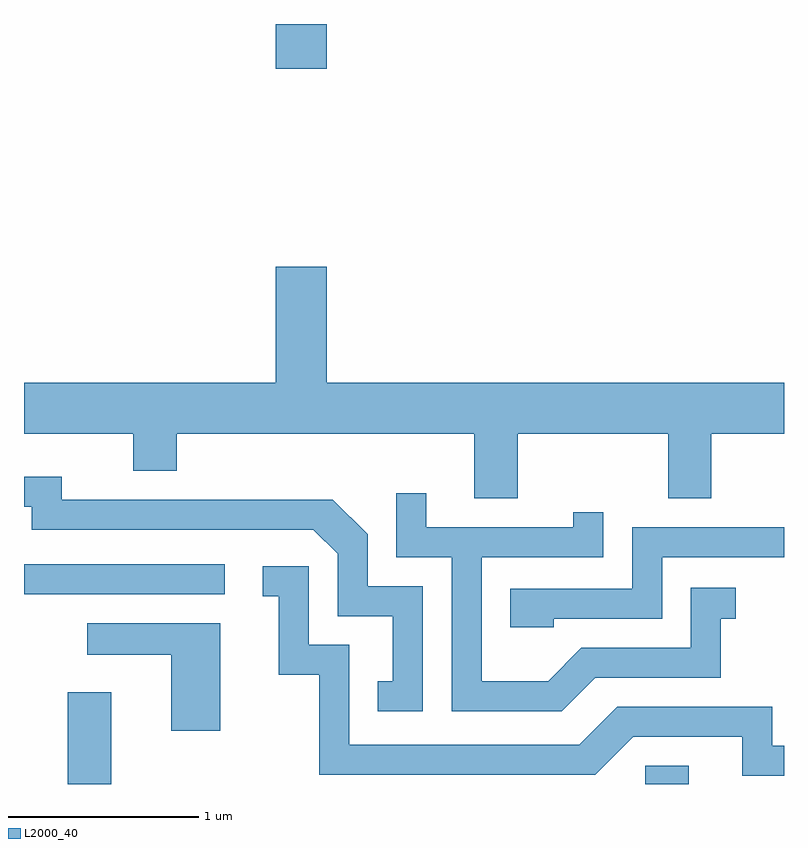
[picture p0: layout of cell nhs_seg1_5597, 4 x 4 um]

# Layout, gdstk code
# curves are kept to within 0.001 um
import gdstk
lib = gdstk.Library(unit=1e-6, precision=1e-09)
def R(c, l, rs):  # rectangles x0, y0, x1, y1
    for r in rs: c.add(gdstk.rectangle(r[:2], r[2:], *l))
def P(c, l, *ps):  # polygons
    for p in ps: c.add(gdstk.Polygon(p, *l))
L2000_40 = (2000, 40)

nhs_seg1_5597 = lib.new_cell('nhs_seg1_5597')
R(nhs_seg1_5597, L2000_40, [(353.841,917.712,354.069,918.194), (356.881,917.712,357.109,917.809), (353.611,918.711,354.668,918.869), (354.936,921.476,355.204,921.712)])
P(nhs_seg1_5597, L2000_40, [(356.209,919.556),(357.001,919.556),(357.001,919.216),(357.229,919.216),(357.229,919.556),(357.611,919.556),(357.611,919.824),(355.204,919.824),(355.204,920.434),(354.936,920.434),(354.936,919.824),(353.611,919.824),(353.611,919.556),(354.186,919.556),(354.186,919.361),(354.414,919.361),(354.414,919.556),(355.981,919.556),(355.981,919.216),(356.209,919.216)],
  [(355.709,918.754),(355.419,918.754),(355.419,919.027),(355.237,919.209),(353.809,919.209),(353.809,919.329),(353.611,919.329),(353.611,919.171),(353.651,919.171),(353.651,919.051),(355.134,919.051),(355.261,918.924),(355.261,918.596),(355.551,918.596),(355.551,918.254),(355.473,918.254),(355.473,918.096),(355.709,918.096)],
  [(356.617,918.271),(357.279,918.271),(357.279,918.581),(357.358,918.581),(357.358,918.744),(357.121,918.744),(357.121,918.429),(356.544,918.429),(356.369,918.254),(356.019,918.254),(356.019,918.906),(356.659,918.906),(356.659,919.143),(356.501,919.143),(356.501,919.064),(355.729,919.064),(355.729,919.243),(355.571,919.243),(355.571,918.906),(355.861,918.906),(355.861,918.096),(356.442,918.096)],
  [(356.399,918.581),(356.969,918.581),(356.969,918.906),(357.611,918.906),(357.611,919.064),(356.811,919.064),(356.811,918.739),(356.171,918.739),(356.171,918.536),(356.399,918.536)],
  [(357.611,917.914),(357.549,917.914),(357.549,918.119),(356.734,918.119),(356.534,917.919),(355.324,917.919),(355.324,918.444),(355.109,918.444),(355.109,918.859),(354.868,918.859),(354.868,918.701),(354.951,918.701),(354.951,918.286),(355.166,918.286),(355.166,917.761),(356.617,917.761),(356.817,917.961),(357.391,917.961),(357.391,917.756),(357.611,917.756)],
  [(354.644,918.559),(353.943,918.559),(353.943,918.391),(354.386,918.391),(354.386,917.991),(354.644,917.991)])

lib.write_gds('nhs_seg1_5597.gds')
